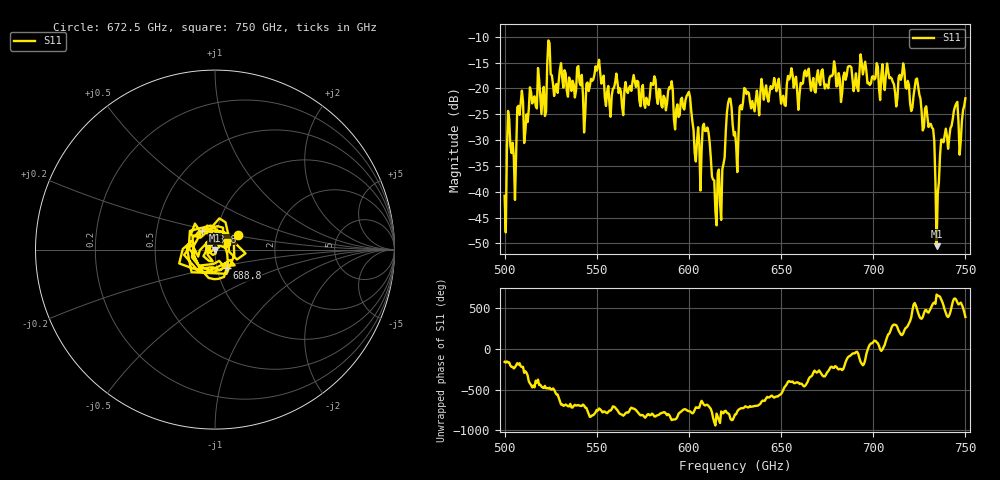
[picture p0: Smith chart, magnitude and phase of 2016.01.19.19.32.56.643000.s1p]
!Created with skrf (http://scikit-rf.org).
# GHz S RI R 50.0
!freq ReS11 ImS11
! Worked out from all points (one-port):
!   401 points, 500 GHz to 750 GHz, reference 50 ohm
!   lowest |S11| = -50.5 dB at 734.4 GHz (marker M1), VSWR 1.01, Z = 50.2 - j0.24 ohm
!   |S11| at or under -10 dB: start of sweep to end of sweep
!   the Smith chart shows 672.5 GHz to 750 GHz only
!   S11 on the Smith chart (normalised r, x): 672.5 GHz: 1.28, +0.21; 688.8 GHz: 1.11, -0.23; 723.8 GHz: 0.85, +0.17; 750 GHz: 1.14, +0.10
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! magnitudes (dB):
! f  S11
! 500 GHz  -40.8
! 502.5 GHz  -25.9
! 505 GHz  -33.3
! 508.1 GHz  -25.1
! 511.9 GHz  -25.0
! 521.2 GHz  -19.7
! 524.4 GHz  -11.2
! 531.2 GHz  -17.9
! 562.5 GHz  -20.0
! 590 GHz  -20.0
! 593.8 GHz  -23.1
! 600 GHz  -20.7
! 605 GHz  -27.5
! 609.4 GHz  -28.2
! 616.2 GHz  -35.7
! 621.9 GHz  -22.0
! 625 GHz  -28.4
! 631.2 GHz  -21.1
! 656.2 GHz  -17.4
! 672.5 GHz  -16.3
! 687.5 GHz  -15.7
! 688.8 GHz  -18.3
! 718.8 GHz  -18.5
! 723.8 GHz  -18.1
! 731.9 GHz  -27.6
! 734.4 GHz  -50.5
! 738.1 GHz  -30.4
! 750 GHz  -21.9
